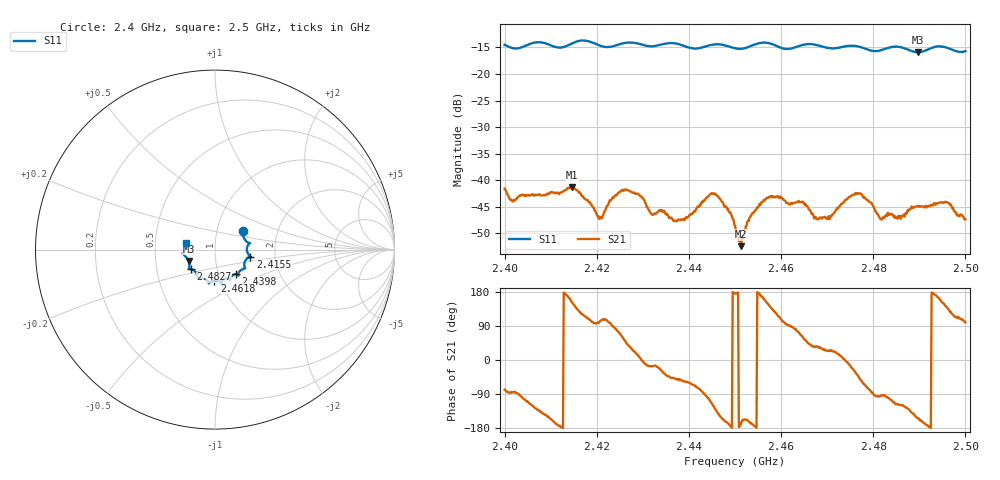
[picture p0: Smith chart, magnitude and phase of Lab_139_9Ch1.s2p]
# Hz S RI R 50
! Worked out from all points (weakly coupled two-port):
!   601 points, 2.4 GHz to 2.5 GHz, reference 50 ohm
!   highest |S21| = -41.25 dB at 2.4147 GHz (marker M1); lowest = -52.4 dB at 2.4513 GHz (marker M2)
!   lowest |S11| = -15.9 dB at 2.4897 GHz (marker M3), VSWR 1.38, Z = 36.9 - j4.84 ohm
!   |S11| at or under -10 dB: start of sweep to end of sweep
!   S12 and S22 are empty: the file has one direction only
!   S11 on the Smith chart (normalised r, x): 2.4 GHz: 1.33, +0.29; 2.4155 GHz: 1.49, -0.12; 2.4398 GHz: 1.21, -0.34; 2.4618 GHz: 0.94, -0.33; 2.4827 GHz: 0.75, -0.17; 2.5 GHz: 0.72, +0.06
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2.4e9  0.1554 0.1063  0.00169 -0.00817  0 0  0 0
2.401833e9  0.1569 0.0766  0.000556 -0.00629  0 0  0 0
2.414667e9  0.1916 -0.0339  -0.00764 0.00407  0 0  0 0
2.4155e9  0.1975 -0.0393  -0.00605 0.00547  0 0  0 0
2.416667e9  0.2024 -0.0427  -0.00386 0.00602  0 0  0 0
2.420667e9  0.1786 -0.05  -0.000954 0.00441  0 0  0 0
2.425833e9  0.1668 -0.1012  0.00451 0.00652  0 0  0 0
2.433333e9  0.1298 -0.134  0.00481 -0.00174  0 0  0 0
2.439833e9  0.1154 -0.1357  0.00232 -0.00389  0 0  0 0
2.445333e9  0.0841 -0.1699  -0.00389 -0.00638  0 0  0 0
2.45e9  0.0652 -0.1624  -0.00372 0.000244  0 0  0 0
2.451333e9  0.0504 -0.1651  -0.00232 -0.000604  0 0  0 0
2.4565e9  0.0387 -0.1938  -0.0061 0.00255  0 0  0 0
2.461833e9  -0.00362 -0.1728  -0.000105 0.00589  0 0  0 0
2.466667e9  -0.0351 -0.188  0.0038 0.00294  0 0  0 0
2.4705e9  -0.053 -0.167  0.00395 0.00168  0 0  0 0
2.476667e9  -0.096 -0.1547  0.00565 -0.0049  0 0  0 0
2.482667e9  -0.1347 -0.1085  -0.000457 -0.00456  0 0  0 0
2.483333e9  -0.1397 -0.1082  -0.000818 -0.0047  0 0  0 0
2.489667e9  -0.1468 -0.0639  -0.00506 -0.00257  0 0  0 0
2.496e9  -0.1762 -0.0154  -0.00469 0.00409  0 0  0 0
2.5e9  -0.1596 0.0388  -0.000677 0.00424  0 0  0 0
